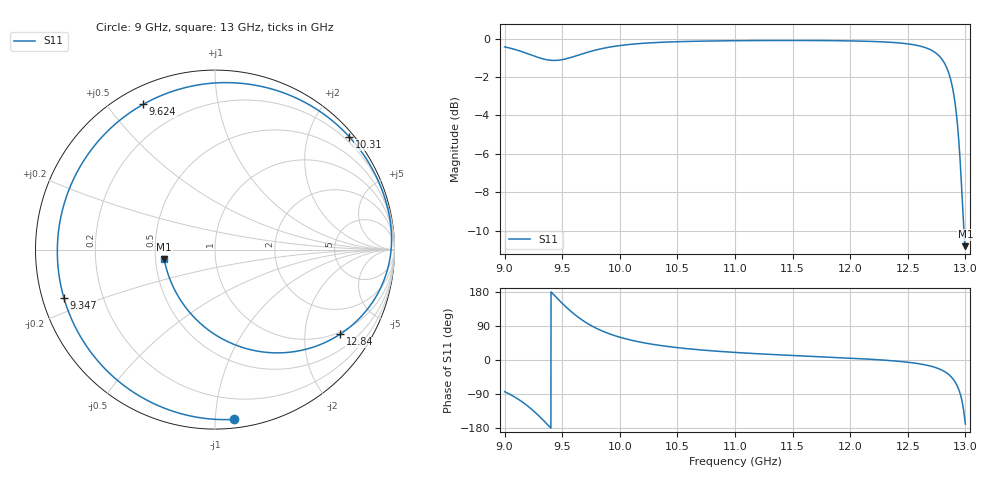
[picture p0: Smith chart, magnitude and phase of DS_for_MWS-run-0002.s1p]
! TOUCHSTONE file generated by CST DESIGN STUDIO
! Date and time: Tue Feb  4 17:52:44 2025
! Project name: C:\Work\MatlabApps\UnitCellOptimizationMatlab\CST\unitcell.cst
! Tree item: Tasks\Sweep1\SPara1\S-Parameters
! Header version: 2024
! Port assignment regex: !\s*Touchstone port\s*([0-9]+)\s*=\s*(CST MWS port|CST DES external port|CST DES block port)\s*(.+)\s* \(\"(.*)\"\)(\s*mode\s*([0-9]+))?.*
! Touchstone port assignment:
! Touchstone port 1 = CST DES external port 1 ("")
# GHz S MA R 50
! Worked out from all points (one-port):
!   4001 points, 9 GHz to 13 GHz, reference 50 ohm
!   lowest |S11| = -10.8 dB at 13 GHz (marker M1), VSWR 1.81, Z = 27.8 - j3.33 ohm
!   |S11| at or under -10 dB: 12.98607 GHz to end of sweep
!   S11 on the Smith chart (normalised r, x): 9 GHz: 0.06, -1.12; 9.347 GHz: 0.06, -0.15; 9.624 GHz: 0.07, +0.62; 10.31 GHz: 0.10, +2.75; 12.84 GHz: 0.93, -3.00; 13 GHz: 0.56, -0.07
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9  0.952 -83.6
9.102  0.9351 -100.3
9.186  0.9172 -118.0
9.264  0.8994 -137.9
9.347  0.8839 -162.4
9.422  0.8778 173.8
9.5  0.8819 149.6
9.562  0.891 131.9
9.624  0.9029 116.3
9.693  0.9167 101.4
9.771  0.9309 87.5
9.881  0.9471 72.4
10  0.9596 60.1
10.144  0.9697 49.3
10.315  0.9772 39.9
10.5  0.9821 32.6
11  0.988 20.0
11.5  0.9894 11.9
12  0.9868 4.8
12.5  0.9694 -5.9
12.717  0.9288 -17.7
12.785  0.8929 -25.1
12.837  0.8415 -34.1
12.887  0.7491 -48.0
12.933  0.5893 -70.9
12.96  0.4497 -94.6
12.982  0.3329 -127.6
13  0.2882 -169.0
